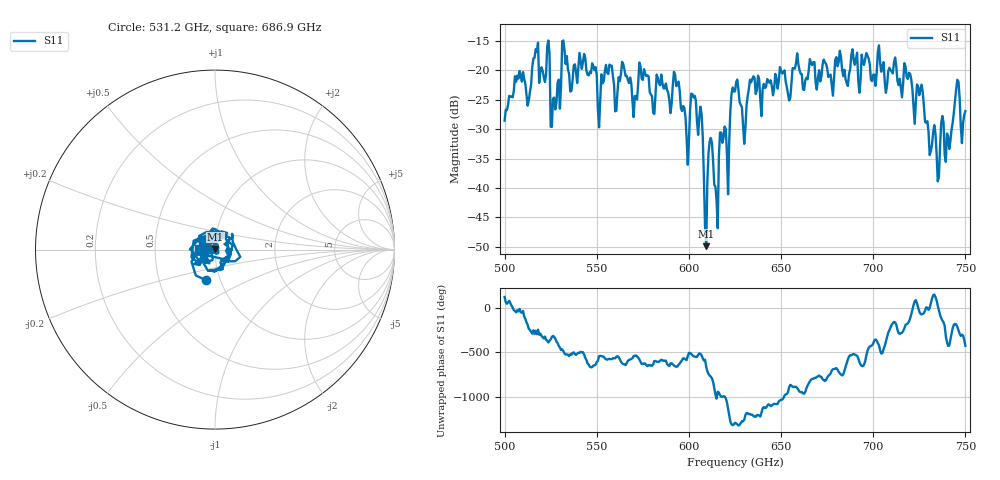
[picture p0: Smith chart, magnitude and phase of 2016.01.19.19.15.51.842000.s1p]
!Created with skrf (http://scikit-rf.org).
# GHz S RI R 50.0
!freq ReS11 ImS11
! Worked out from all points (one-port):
!   401 points, 500 GHz to 750 GHz, reference 50 ohm
!   lowest |S11| = -49.9 dB at 609.4 GHz (marker M1), VSWR 1.01, Z = 50.2 + j0.278 ohm
!   |S11| at or under -10 dB: start of sweep to end of sweep
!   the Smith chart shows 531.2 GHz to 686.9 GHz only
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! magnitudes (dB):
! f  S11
! 500 GHz  -28.6
! 506.9 GHz  -20.9
! 513.1 GHz  -25.1
! 516.9 GHz  -16.4
! 523.1 GHz  -15.9
! 526.2 GHz  -24.8
! 531.2 GHz  -15.0
! 548.8 GHz  -20.0
! 551.9 GHz  -25.1
! 562.5 GHz  -21.8
! 593.8 GHz  -22.5
! 598.8 GHz  -31.5
! 602.5 GHz  -24.6
! 606.2 GHz  -26.2
! 609.4 GHz  -49.9
! 611.9 GHz  -31.5
! 615 GHz  -42.1
! 617.5 GHz  -30.6
! 621.2 GHz  -41.1
! 625 GHz  -23.6
! 630 GHz  -32.5
! 634.4 GHz  -21.5
! 656.2 GHz  -19.6
! 687.5 GHz  -19.8
! 718.8 GHz  -21.5
! 735 GHz  -38.9
! 745.6 GHz  -21.6
! 750 GHz  -26.9
